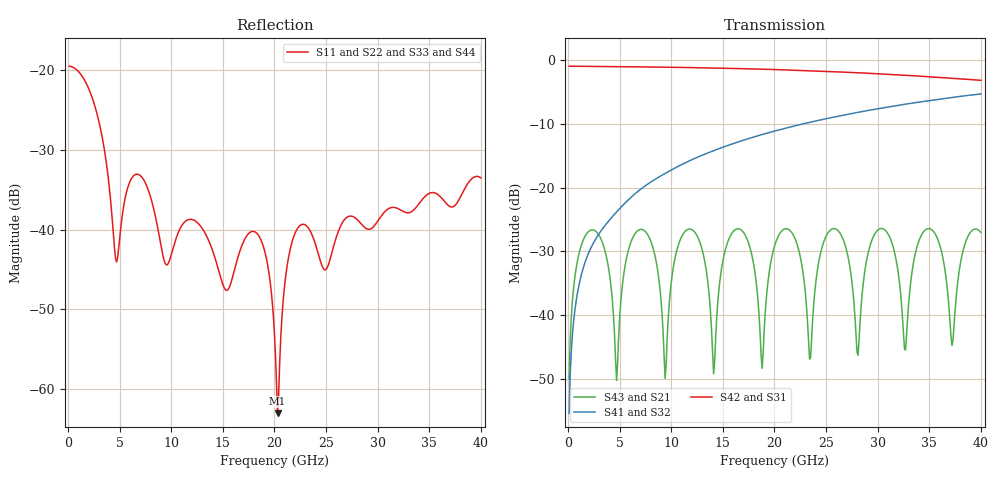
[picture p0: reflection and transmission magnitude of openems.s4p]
! T_ts6_xt_ms_s10: Microstrip aggressor and victim on L1, w 0.265 mm, edge gap 1·w = 0.27 mm, 20 mm
! stackup: ThunderScope Rev5.3 6-layer (FR408HR / FR-4, from the board file)
! ports: 1 near A, 2 near B, 3 far A, 4 far B
! openEMS 0.37.0, staircase, fine mesh (dfine 0.0175 mm), 1155525 cells
# Hz S RI R 50
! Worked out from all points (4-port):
!   400 points, 100 MHz to 40 GHz, reference 50 ohm
!   strongest paths, dB at 100 MHz, 10.1 GHz, 20.1 GHz, 30.1 GHz, 40 GHz:
!     S42: -1.0, -1.1, -1.5, -2.2, -3.2
!     S31: -1.0, -1.1, -1.5, -2.2, -3.2
!     S41: -55.3, -17.2, -11.1, -7.6, -5.3
!     S32: -55.3, -17.2, -11.1, -7.6, -5.3
!     S43: -50.0, -33.6, -28.7, -26.5, -27.0
!     S21: -50.0, -33.6, -28.7, -26.5, -27.0
!   lowest |S11| = -63.1 dB at 20.3 GHz (marker M1), VSWR 1.00, Z = 50.1 - j0.0361 ohm
!   |S11| at or under -10 dB: start of sweep to end of sweep
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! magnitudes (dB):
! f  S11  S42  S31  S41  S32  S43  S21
! 100 MHz  -19.5  -1.0  -1.0  -55.3  -55.3  -50.0  -50.0
! 3.3 GHz  -28.3  -1.0  -1.0  -26.5  -26.5  -28.5  -28.5
! 4.7 GHz  -44.1  -1.1  -1.1  -23.8  -23.8  -50.2  -50.2
! 6.7 GHz  -33.0  -1.1  -1.1  -20.7  -20.7  -26.8  -26.8
! 9.4 GHz  -44.2  -1.1  -1.1  -17.8  -17.8  -49.9  -49.9
! 20.3 GHz  -63.1  -1.5  -1.5  -11.0  -11.0  -27.8  -27.8
! 40 GHz  -33.5  -3.2  -3.2  -5.3  -5.3  -27.0  -27.0
